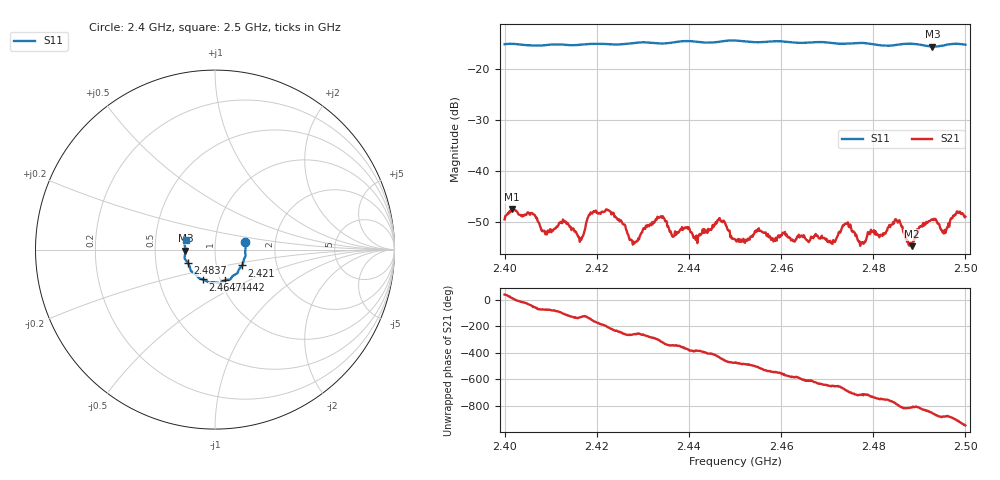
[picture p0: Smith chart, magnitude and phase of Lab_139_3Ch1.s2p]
# Hz S RI R 50
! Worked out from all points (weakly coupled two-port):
!   601 points, 2.4 GHz to 2.5 GHz, reference 50 ohm
!   highest |S21| = -47.50 dB at 2.4017 GHz (marker M1); lowest = -54.7 dB at 2.4883 GHz (marker M2)
!   lowest |S11| = -15.7 dB at 2.4928 GHz (marker M3), VSWR 1.39, Z = 35.9 - j0.399 ohm
!   |S11| at or under -10 dB: start of sweep to end of sweep
!   S12 and S22 are empty: the file has one direction only
!   S11 on the Smith chart (normalised r, x): 2.4 GHz: 1.40, +0.12; 2.421 GHz: 1.33, -0.24; 2.4442 GHz: 1.05, -0.37; 2.4647 GHz: 0.83, -0.28; 2.4837 GHz: 0.73, -0.11; 2.5 GHz: 0.71, +0.08
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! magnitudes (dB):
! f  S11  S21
! 2.4 GHz  -15.2  -49.5
! 2.4017 GHz  -15.1  -47.5
! 2.4167 GHz  -15.3  -53.4
! 2.4185 GHz  -15.2  -48.6
! 2.421 GHz  -15.1  -48.0
! 2.4283 GHz  -14.9  -53.9
! 2.4333 GHz  -15.0  -49.2
! 2.4367 GHz  -14.8  -52.8
! 2.4442 GHz  -14.9  -51.3
! 2.447 GHz  -14.7  -49.9
! 2.45 GHz  -14.5  -53.3
! 2.4647 GHz  -14.9  -52.9
! 2.4667 GHz  -14.8  -53.0
! 2.4713 GHz  -15.0  -53.5
! 2.474 GHz  -15.1  -50.3
! 2.4777 GHz  -14.9  -53.9
! 2.4833 GHz  -15.5  -51.0
! 2.4837 GHz  -15.5  -51.0
! 2.4883 GHz  -15.1  -54.7
! 2.4928 GHz  -15.7  -49.5
! 2.4953 GHz  -15.4  -52.2
! 2.5 GHz  -15.3  -48.9
